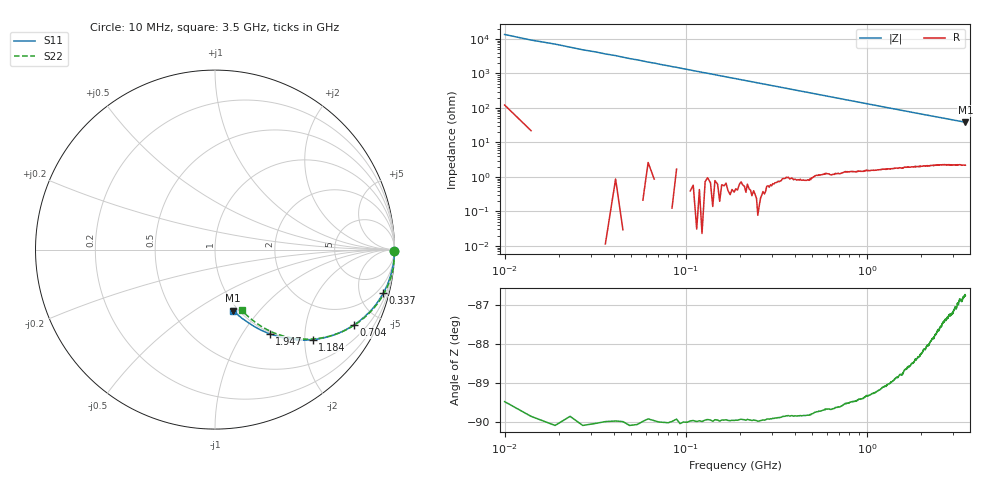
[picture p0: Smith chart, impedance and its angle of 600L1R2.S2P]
!  American Technical Ceramics  Date:  4/27/2005
!  One Norden Lane
!  Huntington Station,  NY.  11746-2102
!  Tel:  (631) 622-4700  Fax:  (631) 622-4748
!  Part Number  600L1R2AT  Mounting Orientation:  Horizontal
!  Description: Ultra Low ESR Microwave capacitors
!  Application: Coupling, Bypass, Tuning, DC Block
!  Filters, Matching
# GHZ S DB R 50
! Freq  |S11|  S11 Ph  |S21|  S21 Ph  |S12|  S12 Ph  |S22|  S22 Ph
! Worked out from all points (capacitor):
!   801 points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, 10 MHz to 3.5 GHz, reference 50 ohm
!   read as one part in series: C = 1.19 pF near 27 MHz
!   lowest |Z| = 38.5 ohm at 3.5 GHz (marker M1)
!   S11 on the Smith chart (normalised r, x): 10 MHz: open; 337 MHz: 0.98, -7.69; 704 MHz: 0.98, -3.68; 1.184 GHz: 0.98, -2.18; 1.947 GHz: 0.98, -1.33; 3.5 GHz: 0.94, -0.73
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0.01  -0.01 -0.5  -42.64 89.0  -42.36 89.9  -0.01 -0.6
0.019  -0.01 -0.9  -37.06 89.2  -37.04 88.9  -0.01 -0.8
0.036  0.00 -1.7  -31.35 88.4  -31.33 88.5  -0.01 -1.6
0.049  -0.01 -2.2  -28.66 87.9  -28.65 87.8  -0.01 -2.1
0.075  -0.02 -3.4  -24.98 86.7  -24.93 86.7  -0.01 -3.3
0.11  -0.03 -4.9  -21.69 85.1  -21.65 85.1  -0.01 -4.8
0.158  -0.07 -7.0  -18.58 83.0  -18.54 83.0  -0.03 -6.9
0.206  -0.11 -9.1  -16.32 80.9  -16.28 80.9  -0.07 -8.9
0.267  -0.18 -11.7  -14.14 78.3  -14.10 78.3  -0.13 -11.5
0.337  -0.28 -14.6  -12.22 75.4  -12.18 75.3  -0.23 -14.4
0.459  -0.51 -19.6  -9.76 70.4  -9.72 70.3  -0.46 -19.3
0.595  -0.83 -24.7  -7.82 65.1  -7.79 65.0  -0.77 -24.4
0.704  -1.11 -28.6  -6.66 61.2  -6.62 61.1  -1.06 -28.2
0.917  -1.75 -35.5  -5.01 54.2  -4.97 54.2  -1.70 -35.0
1.175  -2.58 -42.5  -3.71 47.2  -3.68 47.1  -2.53 -41.7
1.184  -2.61 -42.7  -3.68 47.0  -3.65 46.9  -2.56 -41.9
1.471  -3.56 -49.0  -2.78 40.6  -2.74 40.5  -3.50 -47.8
1.755  -4.47 -54.1  -2.20 35.6  -2.17 35.5  -4.39 -52.3
1.947  -5.05 -57.1  -1.92 32.8  -1.90 32.7  -4.96 -54.9
2.34  -6.17 -62.2  -1.53 28.1  -1.50 28.1  -6.05 -59.0
2.92  -7.64 -68.2  -1.20 23.2  -1.17 23.1  -7.46 -63.2
3.5  -9.01 -73.7  -1.02 19.6  -0.99 19.5  -8.68 -66.3
